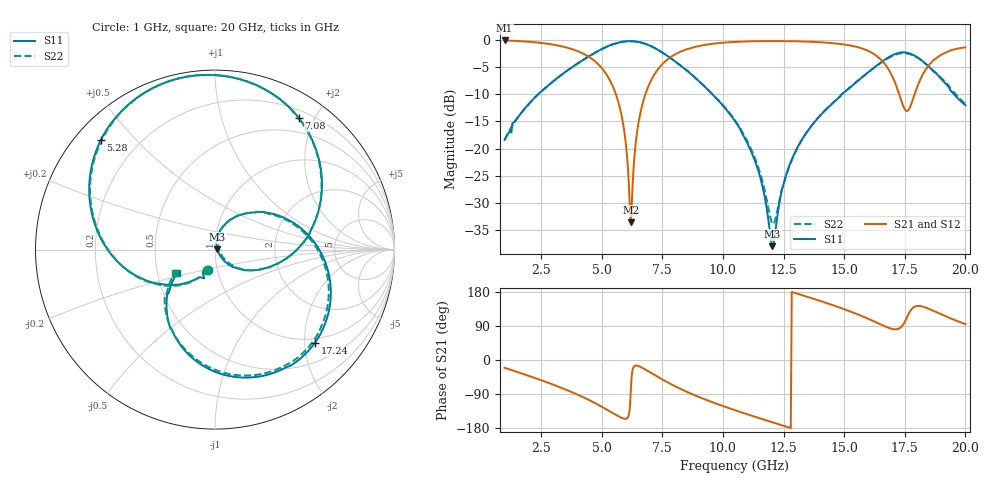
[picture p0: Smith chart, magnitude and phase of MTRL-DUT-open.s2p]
! Multiline TRL de-embedded results
! Powered by MTRL v0.1 based on Matlab. Written by Simon.
! 29-Mar-2016 20:37:55
# hz S ma R 50
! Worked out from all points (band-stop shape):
!   476 points, 1 GHz to 20 GHz, reference 50 ohm
!   highest |S21| = -0.08 dB at 1 GHz (marker M1); lowest = -33.6 dB at 6.2 GHz (marker M2)
!   |S21| within 3 dB of the highest: start of sweep to 4.47 GHz; 7.867 GHz to 16.38 GHz (8.515 GHz wide, 70.2 % of centre) (the widest 2 of 3)
!   lowest |S11| = -38.0 dB at 12.04 GHz (marker M3), VSWR 1.03, Z = 51.3 + j0.235 ohm
!   |S11| at or under -10 dB: start of sweep to 2.38 GHz; 9.568 GHz to 14.91 GHz (5.337 GHz wide, 43.6 % of centre); 19.53 GHz to end of sweep
!   |S22| runs from -33.9 to -0.2 dB; largest |S21 - S12| = 1e-09
!   S11 on the Smith chart (normalised r, x): 1 GHz: 0.90, -0.21; 5.28 GHz: 0.07, +0.40; 7.08 GHz: 0.30, +1.79; 17.24 GHz: 0.90, -2.22; 20 GHz: 0.63, -0.18
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1e9  0.1205 -110.0  0.9912 -20.7  0.9912 -20.7  0.1205 -112.0
2.84e9  0.3899 -151.7  0.9197 -61.1  0.9197 -61.1  0.3872 -150.8
4.2e9  0.648 173.2  0.7573 -97.0  0.7573 -97.0  0.6475 172.6
5.28e9  0.8816 136.2  0.4502 -133.4  0.4502 -133.4  0.8816 135.2
5.84e9  0.9618 112.5  0.1932 -152.9  0.1932 -152.9  0.9621 112.1
6.2e9  0.9761 96.3  0.02092 -87.1  0.02092 -87.1  0.9768 96.2
6.56e9  0.9556 80.0  0.1931 -16.9  0.1931 -16.9  0.9563 80.3
7.08e9  0.8691 57.4  0.4419 -35.7  0.4419 -35.7  0.87 57.9
7.36e9  0.8032 46.4  0.5511 -46.2  0.5511 -46.2  0.8036 46.8
8.8e9  0.4619 0.6  0.8584 -92.0  0.8584 -92.0  0.4629 0.7
1.052e10  0.1766 -38.1  0.961 -132.9  0.961 -132.9  0.1798 -36.5
1.148e10  0.06056 -51.3  0.9771 -153.0  0.9771 -153.0  0.06501 -44.0
1.204e10  0.01263 10.4  0.979 -164.3  0.979 -164.3  0.0204 8.5
1.268e10  0.06413 78.6  0.9766 -177.1  0.9766 -177.1  0.06294 77.4
1.368e10  0.165 66.1  0.963 162.7  0.963 162.7  0.1655 66.9
1.56e10  0.4271 24.2  0.855 119.4  0.855 119.4  0.4292 22.8
1.624e10  0.5592 3.5  0.74 101.7  0.74 101.7  0.5557 2.7
1.684e10  0.6958 -22.0  0.5327 84.6  0.5327 84.6  0.6858 -22.6
1.724e10  0.7613 -43.1  0.3317 82.3  0.3317 82.3  0.7485 -43.1
1.764e10  0.7583 -66.0  0.2251 119.3  0.2251 119.3  0.7481 -64.9
1.852e10  0.5614 -110.5  0.5965 134.3  0.5965 134.3  0.564 -109.4
2e10  0.2509 -148.5  0.8573 94.8  0.8573 94.8  0.2561 -149.8
